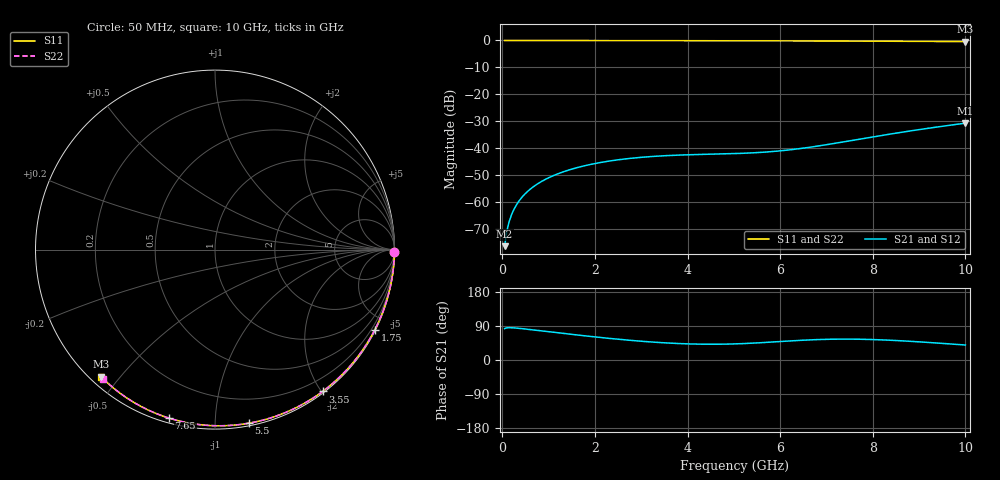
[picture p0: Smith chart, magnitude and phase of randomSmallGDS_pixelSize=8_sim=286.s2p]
! freq	dB(S11)	phase(S11)	dB(S12)	phase(S12)
!  dB(S21)	phase(S21)	dB(S22)	phase(S22)
!S-par simulation data
#  GHz  S  DB  R 50
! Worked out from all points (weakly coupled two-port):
!   200 points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, 50 MHz to 10 GHz, reference 50 ohm
!   highest |S21| = -30.75 dB at 10 GHz (marker M1); lowest = -76.5 dB at 50 MHz (marker M2)
!   lowest |S11| = -0.4 dB at 10 GHz (marker M3), VSWR 39.76, Z = 1.51 - j22.3 ohm
!   |S11| at or under -10 dB: nowhere
!   |S22| runs from -0.4 to 0.0 dB; largest |S21 - S12| = 0
!   S11 on the Smith chart (normalised r, x): 50 MHz: open; 1.75 GHz: 0.04, -4.22; 3.55 GHz: 0.02, -2.01; 5.5 GHz: 0.02, -1.21; 7.65 GHz: 0.02, -0.76; 10 GHz: 0.03, -0.45
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0.05  -0.00 -0.8  -76.48 82.9  -76.48 82.9  -0.00 -0.8
0.1  -0.00 -1.6  -70.72 85.0  -70.72 85.0  -0.00 -1.5
0.15  -0.00 -2.3  -67.25 85.3  -67.25 85.3  -0.00 -2.3
0.2  -0.00 -3.1  -64.78 85.2  -64.78 85.2  -0.00 -3.1
0.25  -0.00 -3.9  -62.85 84.8  -62.85 84.8  -0.00 -3.8
0.35  -0.00 -5.4  -59.95 83.7  -59.95 83.7  -0.00 -5.4
0.5  -0.01 -7.7  -56.89 81.7  -56.89 81.7  -0.01 -7.7
0.7  -0.01 -10.8  -54.03 79.0  -54.03 79.0  -0.01 -10.7
1  -0.02 -15.4  -51.06 74.7  -51.06 74.7  -0.02 -15.2
1.35  -0.03 -20.7  -48.65 69.7  -48.65 69.7  -0.03 -20.5
1.75  -0.03 -26.7  -46.70 64.2  -46.70 64.2  -0.03 -26.4
2.5  -0.05 -37.8  -44.37 54.8  -44.37 54.8  -0.05 -37.4
3.4  -0.07 -50.7  -42.96 46.1  -42.96 46.1  -0.07 -50.2
3.55  -0.07 -52.8  -42.82 45.0  -42.82 45.0  -0.07 -52.3
4.3  -0.09 -63.2  -42.37 41.7  -42.37 41.7  -0.09 -62.6
5.05  -0.11 -73.2  -42.04 42.6  -42.04 42.6  -0.11 -72.5
5.5  -0.13 -79.0  -41.70 45.0  -41.70 45.0  -0.13 -78.3
6.05  -0.15 -86.0  -40.96 49.1  -40.96 49.1  -0.15 -85.3
6.7  -0.18 -94.0  -39.55 53.4  -39.55 53.4  -0.18 -93.2
7.65  -0.23 -105.3  -36.89 55.0  -36.89 55.0  -0.23 -104.5
8.35  -0.28 -113.4  -34.88 52.3  -34.88 52.3  -0.28 -112.5
10  -0.44 -131.8  -30.75 39.5  -30.75 39.5  -0.43 -130.8
